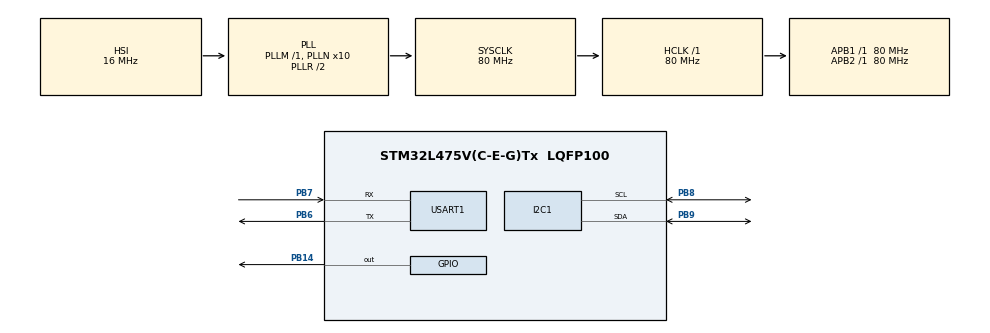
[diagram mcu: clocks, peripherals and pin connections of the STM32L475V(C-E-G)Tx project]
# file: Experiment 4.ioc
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I2C1.Timing=0x10D19CE4
Mcu.Family=STM32L4
Mcu.Name=STM32L475V(C-E-G)Tx
Mcu.Package=LQFP100
NVIC.PriorityGroup=NVIC_PRIORITYGROUP_4
PB14.Signal=GPIO_Output
PB6.Mode=Asynchronous
PB6.Signal=USART1_TX
PB7.Mode=Asynchronous
PB7.Signal=USART1_RX
PB8.Mode=I2C
PB8.Signal=I2C1_SCL
PB9.Mode=I2C
PB9.Signal=I2C1_SDA
PC14-OSC32_IN\ (PC14).Mode=LSE-External-Clock-Source
PC14-OSC32_IN\ (PC14).Signal=RCC_OSC32_IN
PH0-OSC_IN\ (PH0).Mode=HSE-External-Clock-Source
PH0-OSC_IN\ (PH0).Signal=RCC_OSC_IN
ProjectManager.HeapSize=0x200
ProjectManager.StackSize=0x400
ProjectManager.TargetToolchain=STM32CubeIDE
RCC.ADCFreq_Value=64000000
RCC.AHBFreq_Value=80000000
RCC.APB1Freq_Value=80000000
RCC.APB1TimFreq_Value=80000000
RCC.APB2Freq_Value=80000000
RCC.APB2TimFreq_Value=80000000
RCC.CortexFreq_Value=80000000
RCC.HCLKFreq_Value=80000000
RCC.HSE_VALUE=8000000
RCC.HSI_VALUE=16000000
RCC.LSE_VALUE=32768
RCC.MSI_VALUE=4000000
RCC.PLLN=10
RCC.PLLSourceVirtual=RCC_PLLSOURCE_HSI
RCC.SYSCLKFreq_VALUE=80000000
RCC.SYSCLKSource=RCC_SYSCLKSOURCE_PLLCLK
RCC.USBFreq_Value=64000000
RCC.VCOOutputFreq_Value=160000000
USART1.VirtualMode-Asynchronous=VM_ASYNC
board=custom

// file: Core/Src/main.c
/* USER CODE BEGIN Header */
/**
  ******************************************************************************
  * @file           : main.c
  * @brief          : Main program body
  ******************************************************************************
  * @attention
  *
  * Copyright (c) 2026 STMicroelectronics.
  * All rights reserved.
  *
  * This software is licensed under terms that can be found in the LICENSE file
  * in the root directory of this software component.
  * If no LICENSE file comes with this software, it is provided AS-IS.
  *
  ******************************************************************************
  */
/* USER CODE END Header */
#include "main.h"

/* USER CODE BEGIN Includes */
#include "stm32l475e_iot01.h"
#include "stm32l475e_iot01_hsensor.h"
#include "stm32l475e_iot01_tsensor.h"
#include "stdlib.h"
#include <math.h>
#include <string.h>
#include <stdio.h>
/* USER CODE END Includes */

I2C_HandleTypeDef hi2c1;

UART_HandleTypeDef huart1;

/* USER CODE BEGIN PV */
char str[80];
float temp_value = 0;
float hum_value = 0;// Measured temperature value
char str_tmp[100] = ""; // Formatted message to display the temperature value
uint8_t msg3[] = "=====> Temperature sensor HTS221 initialized \r\n ";

/* USER CODE END PV */

void SystemClock_Config(void);
static void MX_GPIO_Init(void);
static void MX_I2C1_Init(void);
static void MX_USART1_UART_Init(void);

int main(void)
{

  /* MCU Configuration--------------------------------------------------------*/

  /* Reset of all peripherals, Initializes the Flash interface and the Systick. */
  HAL_Init();

  /* Configure the system clock */
  SystemClock_Config();

  /* Initialize all configured peripherals */
  MX_GPIO_Init();
  MX_I2C1_Init();
  MX_USART1_UART_Init();
  /* USER CODE BEGIN 2 */
  if (BSP_HSENSOR_Init() != HSENSOR_OK) {  // Use HSENSOR for both!
     uint8_t error[] = "SENSOR INIT FAILED!\r\n";
    HAL_UART_Transmit(&huart1, error, sizeof(error)-1, 1000);
    } else {
    uint8_t ok[] = "HTS221 OK - T+H Working\r\n";
    HAL_UART_Transmit(&huart1, ok, sizeof(ok)-1, 1000);
     }
     HAL_UART_Transmit(&huart1, msg3, sizeof(msg3), 1000);
     /* USER CODE BEGIN 2 */
     BSP_TSENSOR_Init();
     BSP_HSENSOR_Init();
   HAL_UART_Transmit(&huart1,msg3,sizeof(msg3),1000);

  /* USER CODE END 2 */

  /* Infinite loop */
  while (1)
  {

    /* USER CODE BEGIN 3 */float hum_value = BSP_HSENSOR_ReadHumidity();
    float temp_value = BSP_TSENSOR_ReadTemp();  // ← SAME SENSOR!
     // Debug both values
    sprintf(str, "Temperature:%.1fC Humidity:%.0f%%\r\n", temp_value, hum_value);
    HAL_UART_Transmit(&huart1, (uint8_t*)str, strlen(str), 1000);
    HAL_Delay(1000);

  }
  /* USER CODE END 3 */
}

void SystemClock_Config(void)
{
  RCC_OscInitTypeDef RCC_OscInitStruct = {0};
  RCC_ClkInitTypeDef RCC_ClkInitStruct = {0};

  /** Configure the main internal regulator output voltage
  */
  if (HAL_PWREx_ControlVoltageScaling(PWR_REGULATOR_VOLTAGE_SCALE1) != HAL_OK)
  {
    Error_Handler();
  }

  /** Initializes the RCC Oscillators according to the specified parameters
  * in the RCC_OscInitTypeDef structure.
  */
  RCC_OscInitStruct.OscillatorType = RCC_OSCILLATORTYPE_HSI;
  RCC_OscInitStruct.HSIState = RCC_HSI_ON;
  RCC_OscInitStruct.HSICalibrationValue = RCC_HSICALIBRATION_DEFAULT;
  RCC_OscInitStruct.PLL.PLLState = RCC_PLL_ON;
  RCC_OscInitStruct.PLL.PLLSource = RCC_PLLSOURCE_HSI;
  RCC_OscInitStruct.PLL.PLLM = 1;
  RCC_OscInitStruct.PLL.PLLN = 10;
  RCC_OscInitStruct.PLL.PLLP = RCC_PLLP_DIV7;
  RCC_OscInitStruct.PLL.PLLQ = RCC_PLLQ_DIV2;
  RCC_OscInitStruct.PLL.PLLR = RCC_PLLR_DIV2;
  if (HAL_RCC_OscConfig(&RCC_OscInitStruct) != HAL_OK)
  {
    Error_Handler();
  }

  /** Initializes the CPU, AHB and APB buses clocks
  */
  RCC_ClkInitStruct.ClockType = RCC_CLOCKTYPE_HCLK|RCC_CLOCKTYPE_SYSCLK
                              |RCC_CLOCKTYPE_PCLK1|RCC_CLOCKTYPE_PCLK2;
  RCC_ClkInitStruct.SYSCLKSource = RCC_SYSCLKSOURCE_PLLCLK;
  RCC_ClkInitStruct.AHBCLKDivider = RCC_SYSCLK_DIV1;
  RCC_ClkInitStruct.APB1CLKDivider = RCC_HCLK_DIV1;
  RCC_ClkInitStruct.APB2CLKDivider = RCC_HCLK_DIV1;

  if (HAL_RCC_ClockConfig(&RCC_ClkInitStruct, FLASH_LATENCY_4) != HAL_OK)
  {
    Error_Handler();
  }
}

static void MX_I2C1_Init(void)
{

  hi2c1.Instance = I2C1;
  hi2c1.Init.Timing = 0x10D19CE4;
  hi2c1.Init.OwnAddress1 = 0;
  hi2c1.Init.AddressingMode = I2C_ADDRESSINGMODE_7BIT;
  hi2c1.Init.DualAddressMode = I2C_DUALADDRESS_DISABLE;
  hi2c1.Init.OwnAddress2 = 0;
  hi2c1.Init.OwnAddress2Masks = I2C_OA2_NOMASK;
  hi2c1.Init.GeneralCallMode = I2C_GENERALCALL_DISABLE;
  hi2c1.Init.NoStretchMode = I2C_NOSTRETCH_DISABLE;
  if (HAL_I2C_Init(&hi2c1) != HAL_OK)
  {
    Error_Handler();
  }

  /** Configure Analogue filter
  */
  if (HAL_I2CEx_ConfigAnalogFilter(&hi2c1, I2C_ANALOGFILTER_ENABLE) != HAL_OK)
  {
    Error_Handler();
  }

  /** Configure Digital filter
  */
  if (HAL_I2CEx_ConfigDigitalFilter(&hi2c1, 0) != HAL_OK)
  {
    Error_Handler();
  }

}

static void MX_USART1_UART_Init(void)
{

  huart1.Instance = USART1;
  huart1.Init.BaudRate = 115200;
  huart1.Init.WordLength = UART_WORDLENGTH_8B;
  huart1.Init.StopBits = UART_STOPBITS_1;
  huart1.Init.Parity = UART_PARITY_NONE;
  huart1.Init.Mode = UART_MODE_TX_RX;
  huart1.Init.HwFlowCtl = UART_HWCONTROL_NONE;
  huart1.Init.OverSampling = UART_OVERSAMPLING_16;
  huart1.Init.OneBitSampling = UART_ONE_BIT_SAMPLE_DISABLE;
  huart1.AdvancedInit.AdvFeatureInit = UART_ADVFEATURE_NO_INIT;
  if (HAL_UART_Init(&huart1) != HAL_OK)
  {
    Error_Handler();
  }

}

static void MX_GPIO_Init(void)
{
  GPIO_InitTypeDef GPIO_InitStruct = {0};

  /* GPIO Ports Clock Enable */
  __HAL_RCC_GPIOC_CLK_ENABLE();
  __HAL_RCC_GPIOH_CLK_ENABLE();
  __HAL_RCC_GPIOB_CLK_ENABLE();

  /*Configure GPIO pin Output Level */
  HAL_GPIO_WritePin(GPIOB, GPIO_PIN_14, GPIO_PIN_RESET);

  /*Configure GPIO pin : PB14 */
  GPIO_InitStruct.Pin = GPIO_PIN_14;
  GPIO_InitStruct.Mode = GPIO_MODE_OUTPUT_PP;
  GPIO_InitStruct.Pull = GPIO_NOPULL;
  GPIO_InitStruct.Speed = GPIO_SPEED_FREQ_LOW;
  HAL_GPIO_Init(GPIOB, &GPIO_InitStruct);

}

void Error_Handler(void)
{
  __disable_irq();
  while (1)
  {
  }
}
